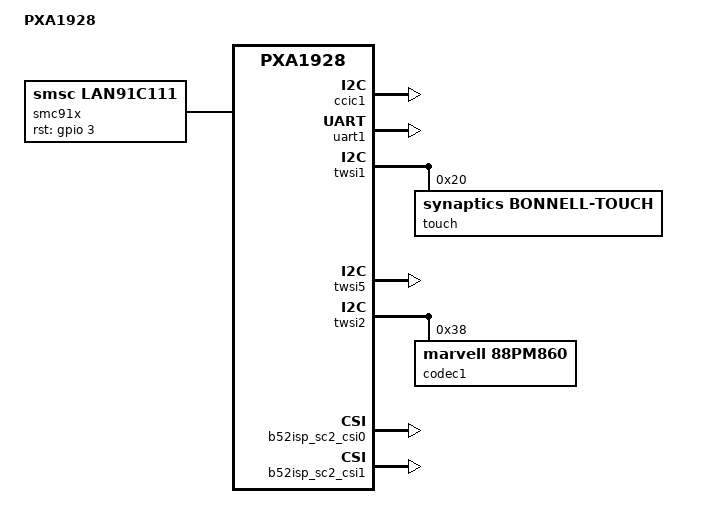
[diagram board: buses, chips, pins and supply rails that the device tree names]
/*
 * pxa1928 FPGA Board
 */

/dts-v1/;
/memreserve/ 0x09000000 0x04000000;	/* ION */
/memreserve/ 0x15000000 0x01000000;	/* GC reserved 16M */
/memreserve/ 0x17000000 0x017f4c00;	/* default fb-mem (size: 256_align(1080*4)*1920*3+pitch_align(256_align(1080*4)*1920/512)*3(for dec header)) */
#include "pxa1928.dtsi"

/ {
	model = "PXA1928";
	compatible = "mrvl,pxa1928-fpga", "mrvl,pxa1928";

	interrupt-parent = <&gic>;

	memory@0 {
		device_type = "memory";
		reg = <0 0 0x20000000>;
	};

	gic: interrupt-controller@d1e02000 {
		status = "okay";
	};

	generic-timer {
		status = "okay";
	};

	ion {
		status = "okay";
		marvell,ion-nr = <2>;
		marvell,ion-iommu = <1>;
		heap1 {
			marvell,ion-name = "carveout_heap";
			marvell,ion-type = <2>;
			marvell,ion-id = <2>;
			marvell,ion-base = <0x09000000>;
			marvell,ion-size = <0x04000000>;
		};
		heap2 {
			marvell,ion-name = "system_heap";
			marvell,ion-type = <0>;
			marvell,ion-id = <0>;
		};
	};

	board {
		pll1_416_freq {
			freq = <26000000>;
		};
		pll1_624_freq {
			freq = <26000000>;
		};
	};

	soc {
		axi@d4200000 {
			sdh1: sdh@d4280000 {
				bus-width = <4>;
				wp-inverted;
				status = "okay";
			};

			vdma: vdma@d427f000 {
				marvell,vdma-num = <4>;
				status = "okay";
				vdma1 {
					marvell,vdma-id = <0>;
					marvell,sram-size = <15360>;
					marvell,is_vid = <0>;
				};
				vdma2 {
					marvell,vdma-id = <1>;
					marvell,sram-size = <15360>;
					marvell,is_vid = <0>;
				};
				vdma3 {
					marvell,vdma-id = <2>;
					marvell,sram-size = <15360>;
					marvell,is_vid = <1>;
				};
				vdma4 {
					marvell,vdma-id = <3>;
					marvell,sram-size = <15360>;
					marvell,is_vid = <1>;
				};
			};

			apical: apical@d420b400 {
				marvell,apical-num = <1>;
				status = "okay";
			};

			sc2mmu1: sc2mmu@d4209000 {
				status = "okay";
			};

			ccic1: ccic@d420a000 {
				status = "okay";
			};

			disp: disp@d420b000 {
				marvell,disp-name = "mmp_disp";
				marvell,path-num = <1>;
				status = "okay";
				path1 {
					marvell,path-name = "mmp_pnpath";
					marvell,overlay-num = <2>;
					marvell,overlay-table = <0>, <1>;
					marvell,output-type = <0>;
					marvell,link-config = <0x60000001>;
					marvell,path-config = <0x20000000>;
					pn_sclk_clksrc {
						clksrc = "disp1";
					};
					disp1_clksrc {
						clksrc = "pll1_416";
					};
					disp_apmu_ver {
						version = "ax";
					};
				};
			};

			fb: fbbase {
				marvell,fb-name = "mmp_fb";
				marvell,path-name = "mmp_pnpath";
				marvell,overlay-id = <1>;
				marvell,default-pixfmt = <0x100>;
				marvell,buffer-num = <3>;
				marvell,fb-mem = <0x17000000>;
				status = "okay";
			};

			fb1: fb-overlay {
				marvell,fb-name = "mmp_fb_overlay";
				marvell,path-name = "mmp_pnpath";
				marvell,overlay-id = <0>;
				status = "okay";
			};

			gpu {
				gpu-mem-base = <0x15000000>;
				gpu-mem-size = <0x1000000>;
				status = "okay";
                        };

			gpu2d {
				status = "okay";
			};

			adma0: adma@c0ffd800 {
				status = "okay";
			};
			adma1: adma@c0ffd900 {
				status = "okay";
			};
		};

		axi@f0400000 {
			dec@0xf0400000 {
				marvell,codec-type = <0>;
				marvell,hw-capacity = <0>;
				status = "okay";
			};

			pp@0xf0400000 {
				marvell,codec-type = <1>;
				marvell,hw-capacity = <0>;
				status = "okay";
			};

			enc@0xf0400800 {
				marvell,codec-type = <2>;
				marvell,hw-capacity = <0>;
				status = "okay";
			};

			b52isp: b52isp@0xF0B00000 {
				status = "okay";
			};
		};

		apb@d4000000 {
			/* PDMA Controller 0 */
			pdma0: pdma@d4000000 {
				status = "okay";
			};

			/* PDMA Controller 1 */
			pdma1: pdma@d4008000 {
				status = "okay";
			};

			uart1: uart@d4030000 {
				status = "okay";

				uart0_clksrc {
					clksrc = "vctcxo";
				};
			};

			twsi1: i2c@d4011000 {
				status = "okay";
				touch: bonnell@20 {
					compatible = "synaptics,bonnell-touch";
					reg = <0x20>;
				};
			};

			twsi5: i2c@d4033800 {
				status = "okay";
			};

			gpio: gpio@d4019000 {
				status = "okay";
			};

			rtc: rtc@d4010000 {
				status = "okay";
			};

			/* SSPA port 0 */
			sspa0: sspa@c0ffdc00 {
				playback_period_bytes = <4096>;
				playback_buffer_bytes = <12288>;
				capture_period_bytes = <4096>;
				capture_buffer_bytes = <12288>;
				status = "okay";
			};

			/* SSPA port 1 */
			sspa1: sspa@c0ffdd00 {
				playback_period_bytes = <4096>;
				playback_buffer_bytes = <12288>;
				capture_period_bytes = <4096>;
				capture_buffer_bytes = <12288>;
				status = "okay";
			};

			map: map@c3000000 {
				status = "okay";
			};

			sound {
				compatible = "marvell,mmp-map-snd-card";
				sspa-controllers = <&sspa0 &sspa1>;
			};

			twsi2: i2c@d4031000 {
				/*pinctrl-names = "default"; pinctrl-0 = <&twsi2_pins>;*/
				status = "okay";

				codec1: 88pm860@38 {
					compatible = "marvell,88pm860";
					reg = <0x38>;
				};
			};

			pmx: pinmux@d401e000 {
				status = "okay";
				/* pin base, nr pins & gpio function */
				pinctrl-single,gpio-range = <PXA1928_GPIO_PINMUX>;
			};

			timer: timer@d4088000 {
				marvell,timer-fc_freq = <32768>;

				counter0 {
					marvell,timer-counter-cnt_freq = <32768>;
				};

				counter1 {
					marvell,timer-counter-cnt_freq = <32768>;
				};

				counter2 {
					marvell,timer-counter-cnt_freq = <32768>;
				};
			};
		};

		soc-camera@0 {
			status = "okay";
		};

		mcam0: mcam@0 {
			status = "okay";
		};
	};

	panel: td043mgea1 {
		compatible = "marvell,mmp-td043mgea1";
		marvell,path-name = "mmp_pnpath";
		status = "okay";
	};

	smc91x: smc91x@80000300 {
		compatible = "smsc,lan91c111";
		reg = <0x0 0x80000300 0xffcff>;
		interrupts = <0 63 0x1>;
		rst_gpio = <&gpio 3 0>;
		clksrc = "smc91x";
		status = "okay";
	};

	plat_cam {
		status = "okay";
		backsensor {
			compatible = "marvell,backsensor";
			#address-cells = <1>;
			#size-cells = <0>;
			status = "okay";
			OV5642: sensor@1 {
				compatible = "marvell,ov5642","marvell,sensor";
				sensor-name = "ovt,ov5642";
				reg = <0x78>;
				adapter = <0x4>;
				status = "okay";
				mclk = <24000000>;
				sensor-pos = <1>;
				sensor_power {
					pwdn-validvalue = <0>;
					reset-validvalue = <0>;
				};
			};
		};
	};

	b52isp_sc2_csi0 {
		status = "okay";
	};

	b52isp_sc2_csi1 {
		status = "okay";
	};

	b52isp_sc2_dma0 {
		status = "okay";
	};

	b52isp_sc2_dma1 {
		status = "okay";
	};
};
